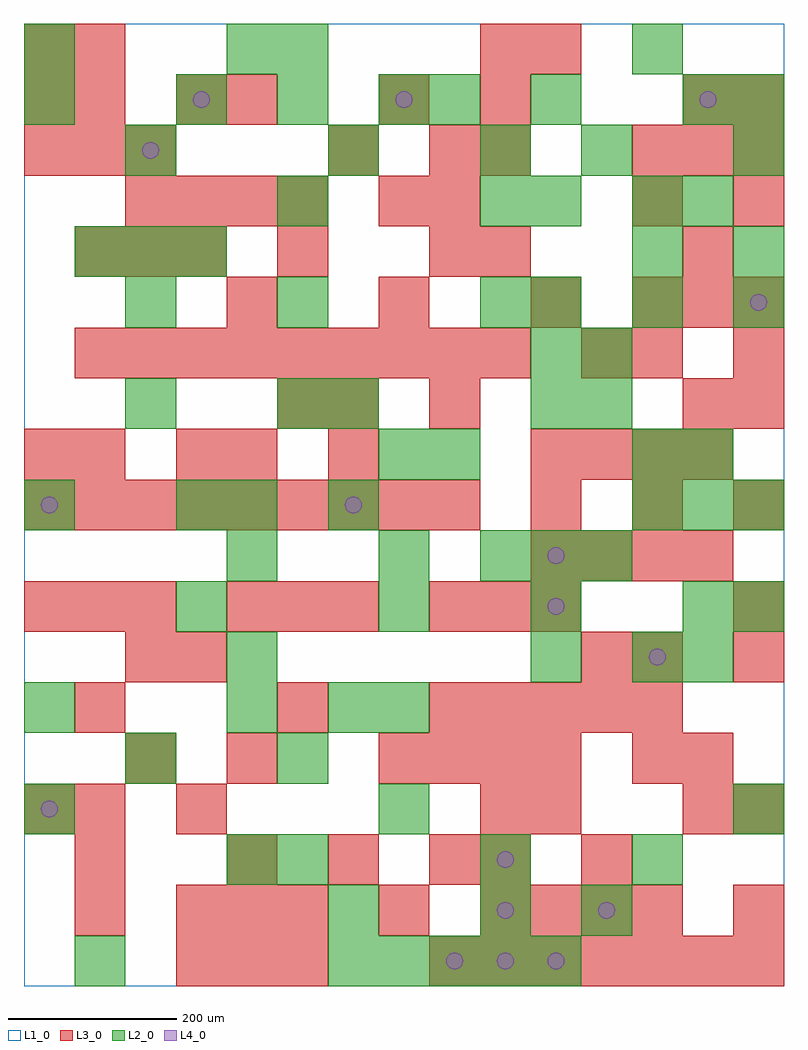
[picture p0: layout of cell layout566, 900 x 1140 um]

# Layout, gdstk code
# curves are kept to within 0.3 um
import gdstk
lib = gdstk.Library(unit=1e-6, precision=1e-09)
def R(c, l, rs):  # rectangles x0, y0, x1, y1
    for r in rs: c.add(gdstk.rectangle(r[:2], r[2:], *l))
def A(c, l, x, y, w, h, nx, ny, dx, dy):  # array of equal rectangles
    R(c, l, [(x+i*dx, y+j*dy, x+i*dx+w, y+j*dy+h) for i in range(nx) for j in range(ny)])
def P(c, l, *ps):  # polygons
    for p in ps: c.add(gdstk.Polygon(p, *l))
L1_0 = (1, 0)
L2_0 = (2, 0)
L3_0 = (3, 0)
L4_0 = (4, 0)

layout566 = lib.new_cell('layout566')
R(layout566, L1_0, [(0,0,900,1140)])
A(layout566, L2_0, 360, 0, 60, 60, 5, 1, 60, 0)
A(layout566, L2_0, 360, 60, 60, 60, 1, 3, 0, 240)
A(layout566, L2_0, 720, 120, 60, 60, 1, 4, 0, 240)
A(layout566, L2_0, 0, 180, 60, 60, 3, 1, 420, 0)
A(layout566, L2_0, 420, 420, 60, 60, 3, 1, 180, 0)
A(layout566, L2_0, 540, 480, 60, 60, 3, 1, 60, 0)
A(layout566, L2_0, 720, 540, 60, 60, 3, 1, 60, 0)
A(layout566, L2_0, 300, 660, 60, 60, 1, 3, 0, 120)
A(layout566, L2_0, 600, 780, 60, 60, 3, 1, 120, 0)
A(layout566, L2_0, 60, 840, 60, 60, 3, 1, 60, 0)
A(layout566, L2_0, 180, 1020, 60, 60, 3, 1, 120, 0)
R(layout566, L2_0, [(60,0,120,60), (540,60,600,120), (660,60,720,120), (240,120,300,180), (300,120,360,180), (540,120,600,180), (120,240,180,300), (300,240,360,300), (0,300,60,360), (240,300,300,360), (420,300,480,360), (240,360,300,420), (600,360,660,420), (780,360,840,420), (180,420,240,480), (840,420,900,480), (240,480,300,540), (420,480,480,540), (0,540,60,600), (180,540,240,600), (240,540,300,600), (420,600,480,660), (480,600,540,660), (780,600,840,660), (120,660,180,720), (360,660,420,720), (600,660,660,720), (660,660,720,720), (600,720,660,780), (660,720,720,780), (120,780,180,840), (540,780,600,840), (840,840,900,900), (540,900,600,960), (600,900,660,960), (720,900,780,960), (780,900,840,960), (120,960,180,1020), (360,960,420,1020), (540,960,600,1020), (660,960,720,1020), (840,960,900,1020), (0,1020,60,1080), (480,1020,540,1080), (600,1020,660,1080), (780,1020,840,1080), (840,1020,900,1080), (0,1080,60,1140), (240,1080,300,1140), (300,1080,360,1140), (720,1080,780,1140)])
A(layout566, L3_0, 180, 0, 60, 60, 3, 2, 60, 60)
A(layout566, L3_0, 480, 0, 60, 60, 7, 1, 60, 0)
A(layout566, L3_0, 60, 60, 60, 60, 1, 3, 0, 60)
A(layout566, L3_0, 540, 60, 60, 60, 4, 1, 60, 0)
A(layout566, L3_0, 240, 120, 60, 60, 3, 1, 120, 0)
A(layout566, L3_0, 0, 180, 60, 60, 1, 3, 0, 420)
A(layout566, L3_0, 420, 240, 60, 60, 4, 1, 60, 0)
A(layout566, L3_0, 480, 300, 60, 60, 5, 1, 60, 0)
A(layout566, L3_0, 0, 420, 60, 60, 3, 2, 60, 540)
A(layout566, L3_0, 240, 420, 60, 60, 3, 1, 60, 0)
A(layout566, L3_0, 480, 420, 60, 60, 3, 1, 60, 0)
A(layout566, L3_0, 600, 480, 60, 60, 4, 2, 60, 120)
A(layout566, L3_0, 0, 540, 60, 60, 9, 1, 60, 0)
A(layout566, L3_0, 600, 540, 60, 60, 3, 1, 120, 0)
A(layout566, L3_0, 780, 660, 60, 60, 1, 3, 0, 180)
A(layout566, L3_0, 60, 720, 60, 60, 9, 1, 60, 0)
A(layout566, L3_0, 240, 780, 60, 60, 3, 1, 180, 0)
A(layout566, L3_0, 720, 780, 60, 60, 3, 2, 60, 180)
A(layout566, L3_0, 60, 840, 60, 60, 3, 1, 60, 0)
A(layout566, L3_0, 480, 840, 60, 60, 1, 3, 0, 60)
A(layout566, L3_0, 120, 900, 60, 60, 4, 1, 60, 0)
A(layout566, L3_0, 540, 960, 60, 60, 1, 3, 0, 60)
R(layout566, L3_0, [(420,60,480,120), (840,60,900,120), (540,120,600,180), (660,120,720,180), (180,180,240,240), (540,180,600,240), (600,180,660,240), (780,180,840,240), (840,180,900,240), (120,240,180,300), (240,240,300,300), (720,240,780,300), (780,240,840,300), (60,300,120,360), (300,300,360,360), (120,360,180,420), (180,360,240,420), (660,360,720,420), (720,360,780,420), (840,360,900,420), (840,420,900,480), (60,600,120,660), (180,600,240,660), (240,600,300,660), (360,600,420,660), (300,660,360,720), (360,660,420,720), (480,660,540,720), (840,660,900,720), (660,720,720,780), (720,720,780,780), (840,720,900,780), (300,840,360,900), (540,840,600,900), (420,900,480,960), (720,900,780,960), (840,900,900,960), (360,960,420,1020), (60,1020,120,1080), (180,1020,240,1080), (240,1020,300,1080), (420,1020,480,1080), (840,1020,900,1080), (0,1080,60,1140), (60,1080,120,1140), (600,1080,660,1140)])
P(layout566, L4_0, [(40,210),(39.239,213.827),(37.071,217.071),(33.827,219.239),(30,220),(26.173,219.239),(22.929,217.071),(20.761,213.827),(20,210),(20.761,206.173),(22.929,202.929),(26.173,200.761),(30,200),(33.827,200.761),(37.071,202.929),(39.239,206.173)],
  [(40,570),(39.239,573.827),(37.071,577.071),(33.827,579.239),(30,580),(26.173,579.239),(22.929,577.071),(20.761,573.827),(20,570),(20.761,566.173),(22.929,562.929),(26.173,560.761),(30,560),(33.827,560.761),(37.071,562.929),(39.239,566.173)],
  [(160,990),(159.239,993.827),(157.071,997.071),(153.827,999.239),(150,1000),(146.173,999.239),(142.929,997.071),(140.761,993.827),(140,990),(140.761,986.173),(142.929,982.929),(146.173,980.761),(150,980),(153.827,980.761),(157.071,982.929),(159.239,986.173)],
  [(220,1050),(219.239,1053.827),(217.071,1057.071),(213.827,1059.239),(210,1060),(206.173,1059.239),(202.929,1057.071),(200.761,1053.827),(200,1050),(200.761,1046.173),(202.929,1042.929),(206.173,1040.761),(210,1040),(213.827,1040.761),(217.071,1042.929),(219.239,1046.173)],
  [(400,570),(399.239,573.827),(397.071,577.071),(393.827,579.239),(390,580),(386.173,579.239),(382.929,577.071),(380.761,573.827),(380,570),(380.761,566.173),(382.929,562.929),(386.173,560.761),(390,560),(393.827,560.761),(397.071,562.929),(399.239,566.173)],
  [(460,1050),(459.239,1053.827),(457.071,1057.071),(453.827,1059.239),(450,1060),(446.173,1059.239),(442.929,1057.071),(440.761,1053.827),(440,1050),(440.761,1046.173),(442.929,1042.929),(446.173,1040.761),(450,1040),(453.827,1040.761),(457.071,1042.929),(459.239,1046.173)],
  [(520,30),(519.239,33.827),(517.071,37.071),(513.827,39.239),(510,40),(506.173,39.239),(502.929,37.071),(500.761,33.827),(500,30),(500.761,26.173),(502.929,22.929),(506.173,20.761),(510,20),(513.827,20.761),(517.071,22.929),(519.239,26.173)],
  [(580,30),(579.239,33.827),(577.071,37.071),(573.827,39.239),(570,40),(566.173,39.239),(562.929,37.071),(560.761,33.827),(560,30),(560.761,26.173),(562.929,22.929),(566.173,20.761),(570,20),(573.827,20.761),(577.071,22.929),(579.239,26.173)],
  [(580,90),(579.239,93.827),(577.071,97.071),(573.827,99.239),(570,100),(566.173,99.239),(562.929,97.071),(560.761,93.827),(560,90),(560.761,86.173),(562.929,82.929),(566.173,80.761),(570,80),(573.827,80.761),(577.071,82.929),(579.239,86.173)],
  [(580,150),(579.239,153.827),(577.071,157.071),(573.827,159.239),(570,160),(566.173,159.239),(562.929,157.071),(560.761,153.827),(560,150),(560.761,146.173),(562.929,142.929),(566.173,140.761),(570,140),(573.827,140.761),(577.071,142.929),(579.239,146.173)],
  [(640,30),(639.239,33.827),(637.071,37.071),(633.827,39.239),(630,40),(626.173,39.239),(622.929,37.071),(620.761,33.827),(620,30),(620.761,26.173),(622.929,22.929),(626.173,20.761),(630,20),(633.827,20.761),(637.071,22.929),(639.239,26.173)],
  [(640,450),(639.239,453.827),(637.071,457.071),(633.827,459.239),(630,460),(626.173,459.239),(622.929,457.071),(620.761,453.827),(620,450),(620.761,446.173),(622.929,442.929),(626.173,440.761),(630,440),(633.827,440.761),(637.071,442.929),(639.239,446.173)],
  [(640,510),(639.239,513.827),(637.071,517.071),(633.827,519.239),(630,520),(626.173,519.239),(622.929,517.071),(620.761,513.827),(620,510),(620.761,506.173),(622.929,502.929),(626.173,500.761),(630,500),(633.827,500.761),(637.071,502.929),(639.239,506.173)],
  [(700,90),(699.239,93.827),(697.071,97.071),(693.827,99.239),(690,100),(686.173,99.239),(682.929,97.071),(680.761,93.827),(680,90),(680.761,86.173),(682.929,82.929),(686.173,80.761),(690,80),(693.827,80.761),(697.071,82.929),(699.239,86.173)],
  [(760,390),(759.239,393.827),(757.071,397.071),(753.827,399.239),(750,400),(746.173,399.239),(742.929,397.071),(740.761,393.827),(740,390),(740.761,386.173),(742.929,382.929),(746.173,380.761),(750,380),(753.827,380.761),(757.071,382.929),(759.239,386.173)],
  [(820,1050),(819.239,1053.827),(817.071,1057.071),(813.827,1059.239),(810,1060),(806.173,1059.239),(802.929,1057.071),(800.761,1053.827),(800,1050),(800.761,1046.173),(802.929,1042.929),(806.173,1040.761),(810,1040),(813.827,1040.761),(817.071,1042.929),(819.239,1046.173)],
  [(880,810),(879.239,813.827),(877.071,817.071),(873.827,819.239),(870,820),(866.173,819.239),(862.929,817.071),(860.761,813.827),(860,810),(860.761,806.173),(862.929,802.929),(866.173,800.761),(870,800),(873.827,800.761),(877.071,802.929),(879.239,806.173)])

lib.write_gds('layout566.gds')
